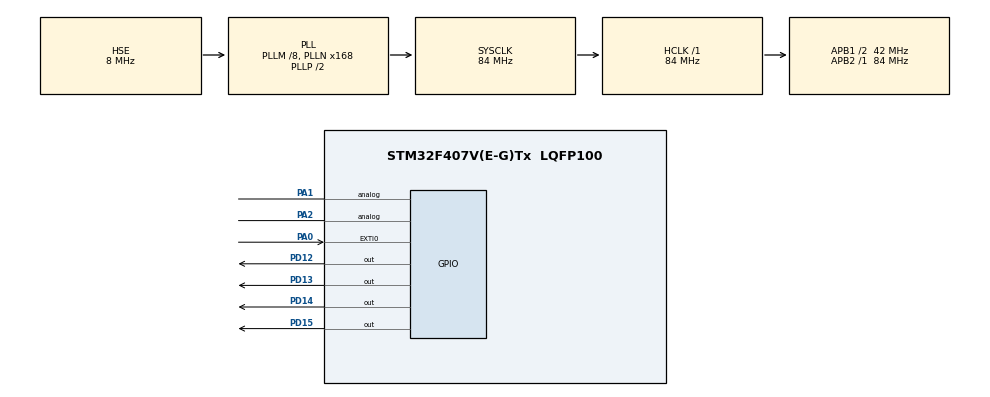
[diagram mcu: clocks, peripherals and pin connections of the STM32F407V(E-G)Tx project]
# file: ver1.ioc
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Mcu.Family=STM32F4
Mcu.Name=STM32F407V(E-G)Tx
Mcu.Package=LQFP100
NVIC.EXTI0_IRQn=true\:0\:0\:false\:false\:true\:true
NVIC.PriorityGroup=NVIC_PRIORITYGROUP_4
PA0-WKUP.Signal=GPXTI0
PA1.Signal=GPIO_Analog
PA13.Mode=Serial_Wire
PA13.Signal=SYS_JTMS-SWDIO
PA14.Mode=Serial_Wire
PA14.Signal=SYS_JTCK-SWCLK
PA2.Signal=GPIO_Analog
PC14-OSC32_IN.Mode=LSE-External-Oscillator
PC14-OSC32_IN.Signal=RCC_OSC32_IN
PC15-OSC32_OUT.Mode=LSE-External-Oscillator
PC15-OSC32_OUT.Signal=RCC_OSC32_OUT
PD12.GPIO_PuPd=GPIO_NOPULL
PD12.GPIO_Speed=GPIO_SPEED_FREQ_VERY_HIGH
PD12.PinState=GPIO_PIN_RESET
PD12.Signal=GPIO_Output
PD13.GPIO_Speed=GPIO_SPEED_FREQ_VERY_HIGH
PD13.Signal=GPIO_Output
PD14.GPIO_Speed=GPIO_SPEED_FREQ_VERY_HIGH
PD14.Signal=GPIO_Output
PD15.GPIO_Speed=GPIO_SPEED_FREQ_VERY_HIGH
PD15.Signal=GPIO_Output
PH0-OSC_IN.Mode=HSE-External-Clock-Source
PH0-OSC_IN.Signal=RCC_OSC_IN
PH1-OSC_OUT.Mode=HSE-External-Clock-Source
PH1-OSC_OUT.Signal=RCC_OSC_OUT
ProjectManager.HeapSize=0x200
ProjectManager.StackSize=0x400
ProjectManager.TargetToolchain=SW4STM32
RCC.48MHZClocksFreq_Value=42000000
RCC.AHBFreq_Value=84000000
RCC.APB1CLKDivider=RCC_HCLK_DIV2
RCC.APB1Freq_Value=42000000
RCC.APB1TimFreq_Value=84000000
RCC.APB2Freq_Value=84000000
RCC.APB2TimFreq_Value=84000000
RCC.CortexFreq_Value=84000000
RCC.HCLKFreq_Value=84000000
RCC.HSE_VALUE=8000000
RCC.HSI_VALUE=16000000
RCC.PLLM=8
RCC.PLLN=168
RCC.PLLSourceVirtual=RCC_PLLSOURCE_HSE
RCC.RCC_RTC_Clock_Source=RCC_RTCCLKSOURCE_LSI
RCC.RCC_RTC_Clock_SourceVirtual=RCC_RTCCLKSOURCE_LSE
RCC.SYSCLKFreq_VALUE=84000000
RCC.SYSCLKSource=RCC_SYSCLKSOURCE_PLLCLK
RCC.VCOOutputFreq_Value=168000000
RTC.Format=RTC_FORMAT_BCD
RTC.Hours=23
RTC.Minutes=59
RTC.Seconds=59
RTC.Year=19
VP_RTC_VS_RTC_Activate.Mode=RTC_Enabled
VP_RTC_VS_RTC_Calendar.Mode=RTC_Calendar
board=custom

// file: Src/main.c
/* USER CODE BEGIN Header */
/**
 ******************************************************************************
 * @file           : main.c
 * @brief          : Main program body
 ******************************************************************************
 ** This notice applies to any and all portions of this file
 * that are not between comment pairs USER CODE BEGIN and
 * USER CODE END. Other portions of this file, whether
 * inserted by the user or by software development tools
 * are owned by their respective copyright owners.
 *
 * COPYRIGHT(c) 2020 STMicroelectronics
 *
 * Redistribution and use in source and binary forms, with or without modification,
 * are permitted provided that the following conditions are met:
 *   1. Redistributions of source code must retain the above copyright notice,
 *      this list of conditions and the following disclaimer.
 *   2. Redistributions in binary form must reproduce the above copyright notice,
 *      this list of conditions and the following disclaimer in the documentation
 *      and/or other materials provided with the distribution.
 *   3. Neither the name of STMicroelectronics nor the names of its contributors
 *      may be used to endorse or promote products derived from this software
 *      without specific prior written permission.
 *
 * THIS SOFTWARE IS PROVIDED BY THE COPYRIGHT HOLDERS AND CONTRIBUTORS "AS IS"
 * AND ANY EXPRESS OR IMPLIED WARRANTIES, INCLUDING, BUT NOT LIMITED TO, THE
 * IMPLIED WARRANTIES OF MERCHANTABILITY AND FITNESS FOR A PARTICULAR PURPOSE ARE
 * DISCLAIMED. IN NO EVENT SHALL THE COPYRIGHT HOLDER OR CONTRIBUTORS BE LIABLE
 * FOR ANY DIRECT, INDIRECT, INCIDENTAL, SPECIAL, EXEMPLARY, OR CONSEQUENTIAL
 * DAMAGES (INCLUDING, BUT NOT LIMITED TO, PROCUREMENT OF SUBSTITUTE GOODS OR
 * SERVICES; LOSS OF USE, DATA, OR PROFITS; OR BUSINESS INTERRUPTION) HOWEVER
 * CAUSED AND ON ANY THEORY OF LIABILITY, WHETHER IN CONTRACT, STRICT LIABILITY,
 * OR TORT (INCLUDING NEGLIGENCE OR OTHERWISE) ARISING IN ANY WAY OUT OF THE USE
 * OF THIS SOFTWARE, EVEN IF ADVISED OF THE POSSIBILITY OF SUCH DAMAGE.
 *
 ******************************************************************************
 */
/* USER CODE END Header */

#include "main.h"

/* USER CODE BEGIN Includes */
#include "Service_Bit/service.h"
/* USER CODE END Includes */

/* USER CODE BEGIN PTD */
struct State {
	uint32_t out;                // 2-bit output
	uint32_t delay;              // time to delay in 1ms
	const struct State *next[4]; // Next if 2-bit input is 0-3
};
typedef const struct State State_t;

#define Center &fsm[0]
#define Left   &fsm[1]
#define Right  &fsm[2]

State_t fsm[3]={
		{0x03, 100, { Right, Left,   Right,  Center }},  // Center
		{0x02, 100, { Left,  Center, Right,  Center }},  // Left
		{0x00, 100, { Right, Left,   Center, Center }}   // Right
};
State_t *Spt;  // pointer to the current state
uint32_t Input;
uint32_t Output;
uint8_t msg_input =0;
uint8_t  state_pin1=0;
uint8_t  state_pin2=0;
uint32_t giatri2=0;
uint8_t msg=0;
/*Run FSM continuously
1) Output depends on State (LaunchPad LED)
2) Wait depends on State
3) Input (LaunchPad buttons)
4) Next depends on (Input,State)
 */
/* USER CODE END PTD */

RTC_HandleTypeDef hrtc;

void SystemClock_Config(void);
static void MX_GPIO_Init(void);
static void MX_RTC_Init(void);

int main(void)
{
	/* USER CODE BEGIN 1 */
	Spt = Center;
	/* USER CODE END 1 */

	/* MCU Configuration--------------------------------------------------------*/

	/* Reset of all peripherals, Initializes the Flash interface and the Systick. */
	HAL_Init();

	/* Configure the system clock */
	SystemClock_Config();

	/* Initialize all configured peripherals */
	MX_GPIO_Init();
	MX_RTC_Init();

	/* Infinite loop */
	/* USER CODE BEGIN WHILE */
	while (1)
	{

		//Newfunct(&giatri2);//Testingonly
		/* GPIO_PIN_12 Yellow color, GPIO_PIN_13  Orange,GPIO_PIN_14 Red, GPIO_PIN_15 Blue */
		//state_pin1 = HAL_GPIO_ReadPin(GPIOA,GPIO_PIN_1);
		//state_pin2 = HAL_GPIO_ReadPin(GPIOA,GPIO_PIN_2);
		//HAL_GPIO_ReadPin
		Output = Spt->out;
		LaunchPad_out(Spt->out);
		HAL_Delay(Spt->delay);
		msg_input=LaunchPad_input();
		Spt=Spt->next[msg_input];

		/* USER CODE END WHILE */

	}
}

void SystemClock_Config(void)
{
	RCC_OscInitTypeDef RCC_OscInitStruct = {0};
	RCC_ClkInitTypeDef RCC_ClkInitStruct = {0};
	RCC_PeriphCLKInitTypeDef PeriphClkInitStruct = {0};

	/**Configure the main internal regulator output voltage
	 */
	__HAL_RCC_PWR_CLK_ENABLE();
	__HAL_PWR_VOLTAGESCALING_CONFIG(PWR_REGULATOR_VOLTAGE_SCALE1);
	/**Initializes the CPU, AHB and APB busses clocks
	 */
	RCC_OscInitStruct.OscillatorType = RCC_OSCILLATORTYPE_LSI|RCC_OSCILLATORTYPE_HSE;
	RCC_OscInitStruct.HSEState = RCC_HSE_BYPASS;
	RCC_OscInitStruct.LSIState = RCC_LSI_ON;
	RCC_OscInitStruct.PLL.PLLState = RCC_PLL_ON;
	RCC_OscInitStruct.PLL.PLLSource = RCC_PLLSOURCE_HSE;
	RCC_OscInitStruct.PLL.PLLM = 8;
	RCC_OscInitStruct.PLL.PLLN = 168;
	RCC_OscInitStruct.PLL.PLLP = RCC_PLLP_DIV2;
	RCC_OscInitStruct.PLL.PLLQ = 4;
	if (HAL_RCC_OscConfig(&RCC_OscInitStruct) != HAL_OK)
	{
		Error_Handler();
	}
	/**Initializes the CPU, AHB and APB busses clocks
	 */
	RCC_ClkInitStruct.ClockType = RCC_CLOCKTYPE_HCLK|RCC_CLOCKTYPE_SYSCLK
			|RCC_CLOCKTYPE_PCLK1|RCC_CLOCKTYPE_PCLK2;
	RCC_ClkInitStruct.SYSCLKSource = RCC_SYSCLKSOURCE_PLLCLK;
	RCC_ClkInitStruct.AHBCLKDivider = RCC_SYSCLK_DIV1;
	RCC_ClkInitStruct.APB1CLKDivider = RCC_HCLK_DIV2;
	RCC_ClkInitStruct.APB2CLKDivider = RCC_HCLK_DIV1;

	if (HAL_RCC_ClockConfig(&RCC_ClkInitStruct, FLASH_LATENCY_2) != HAL_OK)
	{
		Error_Handler();
	}
	PeriphClkInitStruct.PeriphClockSelection = RCC_PERIPHCLK_RTC;
	PeriphClkInitStruct.RTCClockSelection = RCC_RTCCLKSOURCE_LSI;
	if (HAL_RCCEx_PeriphCLKConfig(&PeriphClkInitStruct) != HAL_OK)
	{
		Error_Handler();
	}
}

static void MX_RTC_Init(void)
{

	RTC_TimeTypeDef sTime = {0};
	RTC_DateTypeDef sDate = {0};

	/**Initialize RTC Only
	 */
	hrtc.Instance = RTC;
	hrtc.Init.HourFormat = RTC_HOURFORMAT_24;
	hrtc.Init.AsynchPrediv = 127;
	hrtc.Init.SynchPrediv = 255;
	hrtc.Init.OutPut = RTC_OUTPUT_DISABLE;
	hrtc.Init.OutPutPolarity = RTC_OUTPUT_POLARITY_HIGH;
	hrtc.Init.OutPutType = RTC_OUTPUT_TYPE_OPENDRAIN;
	if (HAL_RTC_Init(&hrtc) != HAL_OK)
	{
		Error_Handler();
	}

	/**Initialize RTC and set the Time and Date
	 */
	sTime.Hours = 0x23;
	sTime.Minutes = 0x59;
	sTime.Seconds = 0x59;
	sTime.DayLightSaving = RTC_DAYLIGHTSAVING_NONE;
	sTime.StoreOperation = RTC_STOREOPERATION_RESET;
	if (HAL_RTC_SetTime(&hrtc, &sTime, RTC_FORMAT_BCD) != HAL_OK)
	{
		Error_Handler();
	}
	sDate.WeekDay = RTC_WEEKDAY_MONDAY;
	sDate.Month = RTC_MONTH_JANUARY;
	sDate.Date = 0x1;
	sDate.Year = 0x19;

	if (HAL_RTC_SetDate(&hrtc, &sDate, RTC_FORMAT_BCD) != HAL_OK)
	{
		Error_Handler();
	}

}

static void MX_GPIO_Init(void)
{
	GPIO_InitTypeDef GPIO_InitStruct = {0};

	/* GPIO Ports Clock Enable */
	__HAL_RCC_GPIOC_CLK_ENABLE();
	__HAL_RCC_GPIOH_CLK_ENABLE();
	__HAL_RCC_GPIOA_CLK_ENABLE();
	__HAL_RCC_GPIOD_CLK_ENABLE();

	/*Configure GPIO pin Output Level */
	HAL_GPIO_WritePin(GPIOD, GPIO_PIN_12|GPIO_PIN_13|GPIO_PIN_14|GPIO_PIN_15, GPIO_PIN_RESET);

	/*Configure GPIO pin : PA0 */
	GPIO_InitStruct.Pin = GPIO_PIN_0;
	GPIO_InitStruct.Mode = GPIO_MODE_IT_RISING;
	GPIO_InitStruct.Pull = GPIO_NOPULL;
	HAL_GPIO_Init(GPIOA, &GPIO_InitStruct);

	/*Configure GPIO pins : PA1 PA2 */
	GPIO_InitStruct.Pin = GPIO_PIN_1|GPIO_PIN_2;
	GPIO_InitStruct.Mode = GPIO_MODE_INPUT;
	GPIO_InitStruct.Pull = GPIO_PULLUP;
	HAL_GPIO_Init(GPIOA, &GPIO_InitStruct);

	/*Configure GPIO pins : PD12 PD13 PD14 PD15 */
	GPIO_InitStruct.Pin = GPIO_PIN_12|GPIO_PIN_13|GPIO_PIN_14|GPIO_PIN_15;
	GPIO_InitStruct.Mode = GPIO_MODE_OUTPUT_PP;
	GPIO_InitStruct.Pull = GPIO_NOPULL;
	GPIO_InitStruct.Speed = GPIO_SPEED_FREQ_VERY_HIGH;
	HAL_GPIO_Init(GPIOD, &GPIO_InitStruct);

	/* EXTI interrupt init*/
	HAL_NVIC_SetPriority(EXTI0_IRQn, 0, 0);
	HAL_NVIC_EnableIRQ(EXTI0_IRQn);

}

void Error_Handler(void)
{
}

/************************ (C) COPYRIGHT STMicroelectronics *****END OF FILE****/
